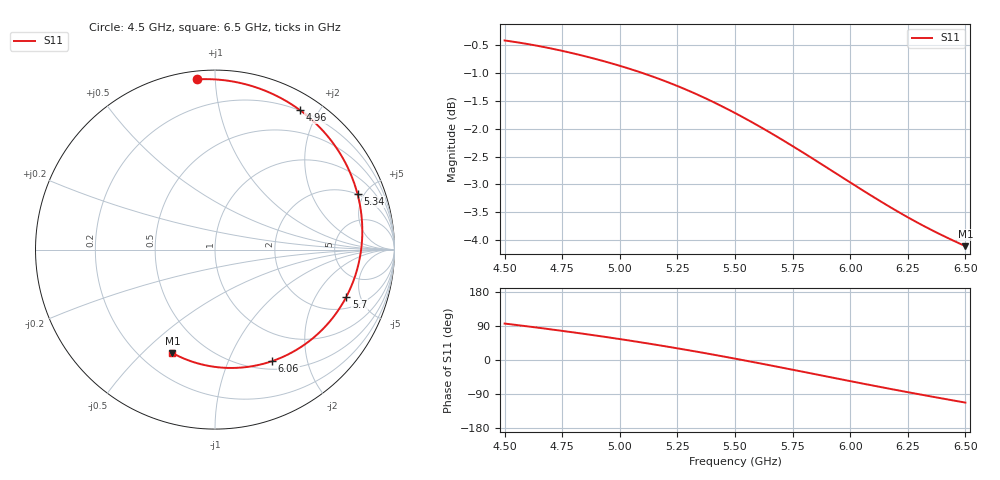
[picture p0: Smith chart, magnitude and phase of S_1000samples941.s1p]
! TOUCHSTONE file generated by CST MICROWAVE STUDIO
! Date and time: Sat Oct 29 21:13:34 2022
! Project name: L.cst
! Parameters = {Di=1.27; Epsilon_r=1.56; InnerDiameter=1.27; Length=2; Lf=10; Lg=60; OuterConductorThickness=0.2921; OuterDiameter=3.6; Wf=3; Wp=41.2; de=1.5; df=6.8; g=0.8; gx=4.90952; gy=4.04276; h=2.34; hf=1.524; px=13.4487; py=12.2923; w=9.7; wx=8.53921; wy=8.24955}
! Header version: 2018
! Port assignment regex: !\s*Touchstone port\s*([0-9]+)\s*=\s*(CST MWS port|CST DS port)\s*([0-9]+|Zmin|Zmax)\s*\(\"(.*)\"\)(\s*mode\s*([0-9]+))?.*
! Touchstone port assignment:
! Touchstone port 1 = CST MWS port 1 ("")
# GHz S DB R 50
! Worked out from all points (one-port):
!   101 points, 4.5 GHz to 6.5 GHz, reference 50 ohm
!   lowest |S11| = -4.1 dB at 6.5 GHz (marker M1), VSWR 4.30, Z = 16.4 - j30.9 ohm
!   |S11| at or under -10 dB: nowhere
!   S11 on the Smith chart (normalised r, x): 4.5 GHz: 0.04, +0.90; 4.96 GHz: 0.19, +1.76; 5.34 GHz: 1.98, +4.48; 5.7 GHz: 2.81, -3.73; 6.06 GHz: 0.60, -1.46; 6.5 GHz: 0.33, -0.62
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4.5  -0.41 96.2
4.58  -0.46 90.2
4.64  -0.50 85.6
4.76  -0.61 76.0
4.86  -0.71 67.6
4.96  -0.82 58.8
5  -0.87 55.2
5.06  -0.94 49.6
5.12  -1.03 43.8
5.2  -1.15 35.9
5.26  -1.25 29.7
5.34  -1.39 21.3
5.42  -1.55 12.6
5.5  -1.71 3.6
5.54  -1.80 -1.0
5.6  -1.94 -7.9
5.7  -2.18 -19.7
5.76  -2.34 -26.9
5.82  -2.49 -34.1
5.88  -2.65 -41.3
5.94  -2.81 -48.5
6  -2.96 -55.7
6.06  -3.12 -62.9
6.16  -3.37 -74.6
6.26  -3.61 -86.0
6.32  -3.75 -92.8
6.38  -3.88 -99.4
6.5  -4.11 -112.4
